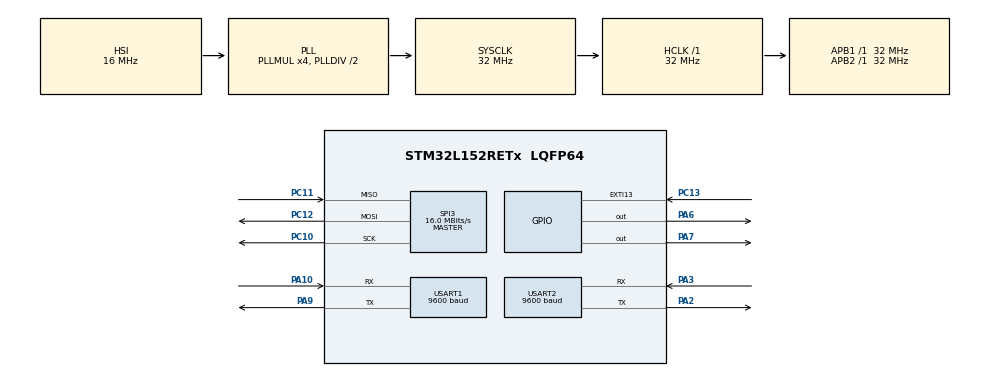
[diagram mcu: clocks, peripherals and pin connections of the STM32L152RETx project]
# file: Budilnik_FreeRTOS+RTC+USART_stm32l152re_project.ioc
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Mcu.Family=STM32L1
NVIC.TIM9_IRQn=true\:0\:0\:false\:false\:true\:false\:false\:true
RCC.MSI_VALUE=2097000
SPI3.Direction=SPI_DIRECTION_2LINES
FREERTOS.Tasks01=defaultTask,0,512,StartDefaultTask,Default,NULL,Dynamic,NULL,NULL
SPI3.VirtualType=VM_MASTER
FATFS._USE_LFN=0
PC13-WKUP2.GPIO_ModeDefaultEXTI=GPIO_MODE_IT_FALLING
PA10.Mode=Asynchronous
USART1.BaudRate=9600
FREERTOS.configLIBRARY_LOWEST_INTERRUPT_PRIORITY=15
PC12.Signal=SPI3_MOSI
PC11.Signal=SPI3_MISO
PC10.Signal=SPI3_SCK
RTC.AlarmDateWeekDay-Alarm\ A=1
PC10.Mode=Full_Duplex_Master
VP_RTC_VS_RTC_Activate.Mode=RTC_Enabled
USART2.BaudRate=9600
VP_RTC_VS_RTC_Alarm_A_Intern.Mode=Alarm A
RCC.SYSCLKSource=RCC_SYSCLKSOURCE_PLLCLK
ProjectManager.StackSize=0x400
VP_SYS_VS_tim9.Mode=TIM9
PA3.Mode=Asynchronous
PA9.Mode=Asynchronous
ProjectManager.TargetToolchain=STM32CubeIDE
RCC.HCLKFreq_Value=32000000
RCC.APB2TimFreq_Value=32000000
PA9.Signal=USART1_TX
FREERTOS.configMINIMAL_STACK_SIZE=512
RCC.LSE_VALUE=32768
RCC.AHBFreq_Value=32000000
VP_FATFS_VS_Generic.Mode=User_defined
NVIC.EXTI15_10_IRQn=true\:10\:0\:true\:false\:true\:false\:true\:true
RCC.HSE_VALUE=24000000
PC13-WKUP2.Signal=GPXTI13
PC12.Mode=Full_Duplex_Master
board=custom
RCC.VCOOutputFreq_Value=64000000
RCC.PLLMUL=RCC_PLL_MUL4
PA7.GPIO_Speed=GPIO_SPEED_FREQ_HIGH
RCC.APB2Freq_Value=32000000
SPI3.CalculateBaudRate=16.0 MBits/s
VP_TIM2_VS_ClockSourceINT.Mode=Internal
NVIC.TIM2_IRQn=true\:0\:0\:true\:false\:true\:true\:true\:true
SPI3.BaudRatePrescaler=SPI_BAUDRATEPRESCALER_2
TIM2.Period=10
VP_FREERTOS_VS_CMSIS_V1.Mode=CMSIS_V1
NVIC.RTC_Alarm_IRQn=true\:8\:0\:true\:false\:true\:true\:true\:true
Mcu.Name=STM32L152RETx
RTC.Alarm-Alarm\ A=RTC_ALARM_A
FREERTOS.configTOTAL_HEAP_SIZE=12288
RTC.Hours_A-Alarm\ A=0
PA2.Signal=USART2_TX
FATFS._MAX_SS=512
RTC.Minutes_A-Alarm\ A=0
RCC.48MHZClocksFreq_Value=32000000
RCC.SYSCLKFreq_VALUE=32000000
FREERTOS.configLIBRARY_MAX_SYSCALL_INTERRUPT_PRIORITY=5
Mcu.Package=LQFP64
TIM2.Prescaler=39999
PA6.Signal=GPIO_Output
NVIC.TimeBase=TIM9_IRQn
SPI3.Mode=SPI_MODE_MASTER
USART2.VirtualMode=VM_ASYNC
USART1.VirtualMode=VM_ASYNC
NVIC.TimeBaseIP=TIM9
PA10.Signal=USART1_RX
VP_RTC_VS_RTC_Calendar.Mode=RTC_Calendar
ProjectManager.HeapSize=0x200
PC11.Mode=Full_Duplex_Master
NVIC.SPI3_IRQn=true\:0\:0\:false\:false\:true\:true\:true\:true
RCC.HSI_VALUE=16000000
NVIC.PriorityGroup=NVIC_PRIORITYGROUP_4
RCC.APB1TimFreq_Value=32000000
PA2.Mode=Asynchronous
PA6.GPIO_Speed=GPIO_SPEED_FREQ_HIGH
RCC.APB1Freq_Value=32000000
PA3.Signal=USART2_RX
PA7.Signal=GPIO_Output

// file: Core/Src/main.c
/* USER CODE BEGIN Header */
/**
  ******************************************************************************
  * @file           : main.c
  * @brief          : Main program body
  ******************************************************************************
  * @attention
  *
  * <h2><center>&copy; Copyright (c) 2020 STMicroelectronics.
  * All rights reserved.</center></h2>
  *
  * This software component is licensed by ST under Ultimate Liberty license
  * SLA0044, the "License"; You may not use this file except in compliance with
  * the License. You may obtain a copy of the License at:
  *                             www.st.com/SLA0044
  *
  ******************************************************************************
  */
/* USER CODE END Header */
#include "main.h"
#include "cmsis_os.h"
#include "fatfs.h"

/* USER CODE BEGIN Includes */
/* ----------------- Coments ----------------------------------
 * В этом проекте используется SPI3, чтобы считать голосовые файлы с microSD
 * и озвучить их посредством DAC с использованием DMA во время пробуждения по будильнику.
 * Время для RTC задается сперва текущее в main() а затем, также в main() задается время пробуждения.
 * В момент пробуждения срабатывает прерывание RTC-Alarm'a, обработка которого происходит в файле
 * stm32lxx_it.c посредством функций FreeRTOS. До этого момента крутится таск FirstTask, выводящий
 * посекундно время на PuTTY с помощью USART,а в момент прерывания вызывается SoundTask, озвучивающий
 * время пробуждения и выводящий сообщение "ALARM !!! ALARM !!! ALARM !!!" также с помощью USART
 * на экран PuTTY. Прервать звонок будильника можно с помощью голубой кнопки User Button,
 * расположенной на плате Nucleo-L152RE. В этот момент срабатывает другое прерывание, повторно вызывающее
 * FirstTask, обработка которого происходит в stm32lxx_it.c с помощью функций FreeRTOS.
 *
 * Чтобы переназначить время, надо повторно скомпилировать проект. Подсоединение проводов между
 * платой Nucleo-L152RE, платой microSD и колонками смотри на приложенных в папке проекта фото.
 */

/* USER CODE END Includes */

/* USER CODE BEGIN PD */
#define SIZE_DAC_BUFF  512
/* USER CODE END PD */

RTC_HandleTypeDef hrtc;

SPI_HandleTypeDef hspi3;

TIM_HandleTypeDef htim2;

UART_HandleTypeDef huart1;
UART_HandleTypeDef huart2;

osThreadId defaultTaskHandle;
/* USER CODE BEGIN PV */
char Numbers[60][3]={"00", "01", "02", "03", "04", "05", "06", "07", "08", "09",
                   "10", "11", "12", "13", "14", "15", "16", "17", "18", "19",
                   "20", "21", "22", "23", "24", "25", "26", "27", "28", "29",
                   "30", "31", "32", "33", "34", "35", "36", "37", "38", "39",
                   "40", "41", "42", "43", "44", "45", "46", "47", "48", "49",
                   "50", "51", "52", "53", "54", "55", "56", "57", "58", "59"};
char TimeArray[7][3];
char Param[20];
extern volatile uint16_t Timer1=0;

TaskHandle_t xHandle_1, xHandle_2, xHandle_Sound;
RTC_TimeTypeDef sTime, sAlarmTime;
RTC_DateTypeDef sDate, sAlarmDate;
RTC_AlarmTypeDef sAlarm;

FATFS SDFatFs;
char USER_Path[4]={'0','0','0','0'}; // logical drive path
FIL MyFile;
unsigned char DAC_Buff[SIZE_DAC_BUFF];
UINT cnt;

WPRESULT wp_open( FIL *file, const char *FileName, wp_format *format );
void wp_init (wp_format *format);
char wave_playback(const char *FileName);

/* USER CODE END PV */

void SystemClock_Config(void);
static void MX_GPIO_Init(void);
static void MX_RTC_Init(void);
static void MX_USART1_UART_Init(void);
static void MX_USART2_UART_Init(void);
static void MX_SPI3_Init(void);
static void MX_TIM2_Init(void);
void StartDefaultTask(void const * argument);

int main(void)
{

  /* MCU Configuration--------------------------------------------------------*/

  /* Reset of all peripherals, Initializes the Flash interface and the Systick. */
  HAL_Init();

  /* Configure the system clock */
  SystemClock_Config();

  /* Initialize all configured peripherals */
  MX_GPIO_Init();
  MX_RTC_Init();
  MX_USART1_UART_Init();
  MX_USART2_UART_Init();
  MX_FATFS_Init();
  MX_SPI3_Init();
  MX_TIM2_Init();

  /* Create the thread(s) */
  /* definition and creation of defaultTask */
  //osThreadDef(defaultTask, StartDefaultTask, osPriorityNormal, 0, 512);
  //defaultTaskHandle = osThreadCreate(osThread(defaultTask), NULL);

  /* Start scheduler */
  //osKernelStart();

  /* We should never get here as control is now taken by the scheduler */
  /* Infinite loop */
  /* USER CODE BEGIN WHILE */
  HAL_UART_Transmit(&huart2, "Enter Start RTC Date & Time ", 29, 100);
  SetTime( &sDate, &sTime);
  HAL_UART_Transmit(&huart2, "Enter Alarm RTC Date & Time ", 29, 100);
  SetTime( &sAlarmDate, &sAlarmTime);

  sAlarm.AlarmTime=sAlarmTime;
  sAlarm.AlarmMask=RTC_ALARMMASK_NONE;
  sAlarm.AlarmSubSecondMask=RTC_ALARMSUBSECONDMASK_ALL;
  sAlarm.AlarmDateWeekDaySel=RTC_ALARMDATEWEEKDAYSEL_DATE;
  sAlarm.AlarmDateWeekDay=sAlarmDate.Date;
  sAlarm.Alarm=RTC_ALARM_A;

  HAL_RTC_SetDate(&hrtc, &sDate, RTC_FORMAT_BCD);
  HAL_RTC_SetTime(&hrtc, &sTime, RTC_FORMAT_BCD);

  HAL_RTC_SetAlarm_IT(&hrtc, &sAlarm, RTC_FORMAT_BCD);

  /* Чтобы таски создались, надо заблокировать строки кода, создающие defaultTask !!! Потому, что
   * defaultTask занимает слишком много памяти в куче ( 2160 Байт ) и для моих тасков не остается
   * места !!!
   */
	  if( xTaskCreate(prvFirstTask, "First", configMINIMAL_STACK_SIZE, NULL, tskIDLE_PRIORITY, &xHandle_1) != pdPASS){
		  HAL_UART_Transmit(&huart2, "FirstTask creating ERROR !!!\r\n", 30, 100 );
	  }

	  if( xTaskCreate(prvSoundTask, "Sound", configMINIMAL_STACK_SIZE, NULL, tskIDLE_PRIORITY, &xHandle_Sound) != pdPASS){
		  HAL_UART_Transmit(&huart2, "SoundTask creating ERROR !!!\r\n", 30, 100 );
	  }

	  vTaskStartScheduler();

  while (1)
  {
    /* USER CODE END WHILE */

  }
}

void SystemClock_Config(void)
{
  RCC_OscInitTypeDef RCC_OscInitStruct = {0};
  RCC_ClkInitTypeDef RCC_ClkInitStruct = {0};
  RCC_PeriphCLKInitTypeDef PeriphClkInit = {0};

  /** Configure the main internal regulator output voltage
  */
  __HAL_PWR_VOLTAGESCALING_CONFIG(PWR_REGULATOR_VOLTAGE_SCALE1);
  /** Initializes the RCC Oscillators according to the specified parameters
  * in the RCC_OscInitTypeDef structure.
  */
  RCC_OscInitStruct.OscillatorType = RCC_OSCILLATORTYPE_HSI|RCC_OSCILLATORTYPE_LSI;
  RCC_OscInitStruct.HSIState = RCC_HSI_ON;
  RCC_OscInitStruct.HSICalibrationValue = RCC_HSICALIBRATION_DEFAULT;
  RCC_OscInitStruct.LSIState = RCC_LSI_ON;
  RCC_OscInitStruct.PLL.PLLState = RCC_PLL_ON;
  RCC_OscInitStruct.PLL.PLLSource = RCC_PLLSOURCE_HSI;
  RCC_OscInitStruct.PLL.PLLMUL = RCC_PLL_MUL4;
  RCC_OscInitStruct.PLL.PLLDIV = RCC_PLL_DIV2;
  if (HAL_RCC_OscConfig(&RCC_OscInitStruct) != HAL_OK)
  {
    Error_Handler();
  }
  /** Initializes the CPU, AHB and APB buses clocks
  */
  RCC_ClkInitStruct.ClockType = RCC_CLOCKTYPE_HCLK|RCC_CLOCKTYPE_SYSCLK
                              |RCC_CLOCKTYPE_PCLK1|RCC_CLOCKTYPE_PCLK2;
  RCC_ClkInitStruct.SYSCLKSource = RCC_SYSCLKSOURCE_PLLCLK;
  RCC_ClkInitStruct.AHBCLKDivider = RCC_SYSCLK_DIV1;
  RCC_ClkInitStruct.APB1CLKDivider = RCC_HCLK_DIV1;
  RCC_ClkInitStruct.APB2CLKDivider = RCC_HCLK_DIV1;

  if (HAL_RCC_ClockConfig(&RCC_ClkInitStruct, FLASH_LATENCY_1) != HAL_OK)
  {
    Error_Handler();
  }
  PeriphClkInit.PeriphClockSelection = RCC_PERIPHCLK_RTC;
  PeriphClkInit.RTCClockSelection = RCC_RTCCLKSOURCE_LSI;
  if (HAL_RCCEx_PeriphCLKConfig(&PeriphClkInit) != HAL_OK)
  {
    Error_Handler();
  }
}

static void MX_RTC_Init(void)
{

  RTC_TimeTypeDef sTime = {0};
  RTC_DateTypeDef sDate = {0};
  RTC_AlarmTypeDef sAlarm = {0};

  /** Initialize RTC Only
  */
  hrtc.Instance = RTC;
  hrtc.Init.HourFormat = RTC_HOURFORMAT_24;
  hrtc.Init.AsynchPrediv = 127;
  hrtc.Init.SynchPrediv = 255;
  hrtc.Init.OutPut = RTC_OUTPUT_DISABLE;
  hrtc.Init.OutPutPolarity = RTC_OUTPUT_POLARITY_HIGH;
  hrtc.Init.OutPutType = RTC_OUTPUT_TYPE_OPENDRAIN;
  if (HAL_RTC_Init(&hrtc) != HAL_OK)
  {
    Error_Handler();
  }

  /** Initialize RTC and set the Time and Date
  */
  sTime.Hours = 0x0;
  sTime.Minutes = 0x0;
  sTime.Seconds = 0x0;
  sTime.DayLightSaving = RTC_DAYLIGHTSAVING_NONE;
  sTime.StoreOperation = RTC_STOREOPERATION_RESET;
  if (HAL_RTC_SetTime(&hrtc, &sTime, RTC_FORMAT_BCD) != HAL_OK)
  {
    Error_Handler();
  }
  sDate.WeekDay = RTC_WEEKDAY_MONDAY;
  sDate.Month = RTC_MONTH_JANUARY;
  sDate.Date = 0x1;
  sDate.Year = 0x0;

  if (HAL_RTC_SetDate(&hrtc, &sDate, RTC_FORMAT_BCD) != HAL_OK)
  {
    Error_Handler();
  }
  /** Enable the Alarm A
  */
  sAlarm.AlarmTime.Hours = 0x0;
  sAlarm.AlarmTime.Minutes = 0x0;
  sAlarm.AlarmTime.Seconds = 0x0;
  sAlarm.AlarmTime.SubSeconds = 0x0;
  sAlarm.AlarmTime.DayLightSaving = RTC_DAYLIGHTSAVING_NONE;
  sAlarm.AlarmTime.StoreOperation = RTC_STOREOPERATION_RESET;
  sAlarm.AlarmMask = RTC_ALARMMASK_NONE;
  sAlarm.AlarmSubSecondMask = RTC_ALARMSUBSECONDMASK_ALL;
  sAlarm.AlarmDateWeekDaySel = RTC_ALARMDATEWEEKDAYSEL_DATE;
  sAlarm.AlarmDateWeekDay = 0x1;
  sAlarm.Alarm = RTC_ALARM_A;
  if (HAL_RTC_SetAlarm_IT(&hrtc, &sAlarm, RTC_FORMAT_BCD) != HAL_OK)
  {
    Error_Handler();
  }

}

static void MX_SPI3_Init(void)
{

  /* SPI3 parameter configuration*/
  hspi3.Instance = SPI3;
  hspi3.Init.Mode = SPI_MODE_MASTER;
  hspi3.Init.Direction = SPI_DIRECTION_2LINES;
  hspi3.Init.DataSize = SPI_DATASIZE_8BIT;
  hspi3.Init.CLKPolarity = SPI_POLARITY_LOW;
  hspi3.Init.CLKPhase = SPI_PHASE_1EDGE;
  hspi3.Init.NSS = SPI_NSS_SOFT;
  hspi3.Init.BaudRatePrescaler = SPI_BAUDRATEPRESCALER_2;
  hspi3.Init.FirstBit = SPI_FIRSTBIT_MSB;
  hspi3.Init.TIMode = SPI_TIMODE_DISABLE;
  hspi3.Init.CRCCalculation = SPI_CRCCALCULATION_DISABLE;
  hspi3.Init.CRCPolynomial = 10;
  if (HAL_SPI_Init(&hspi3) != HAL_OK)
  {
    Error_Handler();
  }

}

static void MX_TIM2_Init(void)
{

  TIM_ClockConfigTypeDef sClockSourceConfig = {0};
  TIM_MasterConfigTypeDef sMasterConfig = {0};

  htim2.Instance = TIM2;
  htim2.Init.Prescaler = 39999;
  htim2.Init.CounterMode = TIM_COUNTERMODE_UP;
  htim2.Init.Period = 10;
  htim2.Init.ClockDivision = TIM_CLOCKDIVISION_DIV1;
  htim2.Init.AutoReloadPreload = TIM_AUTORELOAD_PRELOAD_DISABLE;
  if (HAL_TIM_Base_Init(&htim2) != HAL_OK)
  {
    Error_Handler();
  }
  sClockSourceConfig.ClockSource = TIM_CLOCKSOURCE_INTERNAL;
  if (HAL_TIM_ConfigClockSource(&htim2, &sClockSourceConfig) != HAL_OK)
  {
    Error_Handler();
  }
  sMasterConfig.MasterOutputTrigger = TIM_TRGO_RESET;
  sMasterConfig.MasterSlaveMode = TIM_MASTERSLAVEMODE_DISABLE;
  if (HAL_TIMEx_MasterConfigSynchronization(&htim2, &sMasterConfig) != HAL_OK)
  {
    Error_Handler();
  }

}

static void MX_USART1_UART_Init(void)
{

  huart1.Instance = USART1;
  huart1.Init.BaudRate = 9600;
  huart1.Init.WordLength = UART_WORDLENGTH_8B;
  huart1.Init.StopBits = UART_STOPBITS_1;
  huart1.Init.Parity = UART_PARITY_NONE;
  huart1.Init.Mode = UART_MODE_TX_RX;
  huart1.Init.HwFlowCtl = UART_HWCONTROL_NONE;
  huart1.Init.OverSampling = UART_OVERSAMPLING_16;
  if (HAL_UART_Init(&huart1) != HAL_OK)
  {
    Error_Handler();
  }

}

static void MX_USART2_UART_Init(void)
{

  huart2.Instance = USART2;
  huart2.Init.BaudRate = 9600;
  huart2.Init.WordLength = UART_WORDLENGTH_8B;
  huart2.Init.StopBits = UART_STOPBITS_1;
  huart2.Init.Parity = UART_PARITY_NONE;
  huart2.Init.Mode = UART_MODE_TX_RX;
  huart2.Init.HwFlowCtl = UART_HWCONTROL_NONE;
  huart2.Init.OverSampling = UART_OVERSAMPLING_16;
  if (HAL_UART_Init(&huart2) != HAL_OK)
  {
    Error_Handler();
  }

}

static void MX_GPIO_Init(void)
{
  GPIO_InitTypeDef GPIO_InitStruct = {0};

  /* GPIO Ports Clock Enable */
  __HAL_RCC_GPIOC_CLK_ENABLE();
  __HAL_RCC_GPIOA_CLK_ENABLE();

  /*Configure GPIO pin Output Level */
  HAL_GPIO_WritePin(GPIOA, GPIO_PIN_6|GPIO_PIN_7, GPIO_PIN_RESET);

  /*Configure GPIO pin : PC13 */
  GPIO_InitStruct.Pin = GPIO_PIN_13;
  GPIO_InitStruct.Mode = GPIO_MODE_IT_FALLING;
  GPIO_InitStruct.Pull = GPIO_NOPULL;
  HAL_GPIO_Init(GPIOC, &GPIO_InitStruct);

  /*Configure GPIO pins : PA6 PA7 */
  GPIO_InitStruct.Pin = GPIO_PIN_6|GPIO_PIN_7;
  GPIO_InitStruct.Mode = GPIO_MODE_OUTPUT_PP;
  GPIO_InitStruct.Pull = GPIO_NOPULL;
  GPIO_InitStruct.Speed = GPIO_SPEED_FREQ_HIGH;
  HAL_GPIO_Init(GPIOA, &GPIO_InitStruct);

  /* EXTI interrupt init*/
  HAL_NVIC_SetPriority(EXTI15_10_IRQn, 10, 0);
  HAL_NVIC_EnableIRQ(EXTI15_10_IRQn);

}

/* USER CODE BEGIN 4 */

WPRESULT wp_open( FIL *file, const char *FileName, wp_format *format )
{
  unsigned char res;                          //dlya chraneniya resultata
  unsigned char buff[64];                     //bufer dlya zagolovka faila
  unsigned char cnt;                          //kolichestvo prochitannych bait
  unsigned long i;                            //wspom. peremennaya

  res = f_open ( file,FileName, FA_OPEN_EXISTING|FA_READ );
  if(res) return WP_ERROR_FILE;
  res = f_read ( file, &buff[0], 64, (UINT *)&cnt );
  if(res || cnt!=64) return WP_ERROR_FILE;

  if(buff[0]!='R' || buff[1]!='I' || buff[2]!='F' || buff[3]!='F')     res = 2;

  if(buff[8]!='W' || buff[9]!='A' || buff[10]!='V' || buff[11]!='E')   res = 2;

  if(buff[12]!='f' || buff[13]!='m' || buff[14]!='t' || buff[15]!=' ') res = 2;

  //bayty 20,21  - 1 i 0
  if(buff[20]!=1 || buff[21]!=0) res = 2;

  //wychislit razmer chanka "fmt "
  i = buff[16] | (buff[17]<<8) | (buff[18]<<16) | (buff[19]<<24);

  //posle chanka "fmt " dolgen sledovat chank "data"
  if(buff[20+i]!='d' || buff[21+i]!='a' || buff[22+i]!='t' || buff[23+i]!='a') res = 2;

  if(res==2)
  {
    f_close(file);
    return WP_ERROR_FILE;
  }

  //                    zagruzit format dannych
  format->Channels       = buff[22];
  format->SamplesPerSec  = buff[24] | (buff[25]<<8) | (buff[26]<<16) | (buff[27]<<24);
  format->AvgBytesPerSec = buff[28] | (buff[29]<<8) | (buff[30]<<16) | (buff[31]<<24);
  format->BitsPerSample  = buff[34] | (buff[35]<<8);
  format->Size           = buff[24+i]|(buff[25+i]<<8)|(buff[26+i]<<16)|(buff[27+i]<<24);

  //failovyi ukazatel na nachalo dannych
  //f_lseek(file,i+28);
  f_close(&MyFile);
  return WP_OK;
}

void wp_init (wp_format *format)
{
//??????????? ?????? ????? ???? ??? ?????? ?????? ?? ???
//RCC->APB2ENR |= RCC_APB2ENR_IOPAEN;            //???????????? ????? GPIOA
RCC->AHBENR |= RCC_AHBENR_GPIOAEN;             // IO port A clock enabled
RCC->APB1ENR |= RCC_APB1ENR_DACEN;             //DAC interface clock enabled
DAC->CR      |= DAC_CR_DMAEN1;                 //DAC channel1 DMA mode enabled
DAC->CR      |= DAC_CR_BOFF1;                  //DAC channel1 output buffer disabled
//DAC->CR      &=~DAC_CR_BOFF1;
DAC->CR      |= DAC_CR_EN1;                    //DAC channel1 enabled
//????????? ?????? ????? ??? ??? ??????????? ?????? ?? ??????
//? ????????????? ??????? ?????? ??????? ?????? ????:
RCC->AHBENR         |= RCC_AHBENR_DMA1EN;      //DMA1 clock enabled
DMA1_Channel2->CPAR  = (uint32_t)&DAC->DHR8R1; //Base address of the peripheral data register from which the data will be read
												// Address of DAC channel1 8-bit right aligned data holding register
DMA1_Channel2->CMAR  = (uint32_t)&DAC_Buff[0]; //Base address of the memory area from which the data will be read.
DMA1_Channel2->CCR  |=  DMA_CCR_DIR;          //Data transfer direction - read from memory
DMA1_Channel2->CNDTR =  512;                   //Number of data to transfer
DMA1_Channel2->CCR  &= ~DMA_CCR_PINC;         //Peripheral increment mode disabled
DMA1_Channel2->CCR  |=  DMA_CCR_MINC;         //Memory increment mode enabled
DMA1_Channel2->CCR  &= ~DMA_CCR_PSIZE;        //Peripheral size - 8 bit
DMA1_Channel2->CCR  &= ~DMA_CCR_MSIZE;        //Memory size - 8 bit
DMA1_Channel2->CCR  |=  DMA_CCR_CIRC;         //Circular mode enabled
DMA1_Channel2->CCR  |=  DMA_CCR_PL;           //Channel priority level - very high
DMA1_Channel2->CCR  |=  DMA_CCR_EN;           //Channel enabled
//?????? ???????? ?????????? ???????? ????? ??? ????? ??????????? ?? TIM6
RCC->APB1ENR        |=  RCC_APB1ENR_TIM6EN;    //Timer 6 clock enabled
TIM6->PSC            =  0;                     //Prescaler value - 8000 ???
TIM6->ARR            =  (uint32_t)32000000/ format->SamplesPerSec; // Auto-reload value
//TIM6->ARR            = (uint32_t)459; // before 32000000/44100
TIM6->DIER          |=  TIM_DIER_UDE; // Update DMA request enabled.
}

char wave_playback(const char *FileName)
{
  FRESULT res;                                //??? ????????????? ????????? ??????????
  //FIL file;                                   //???????? ??????
  UINT cnt;                                   //?????????? ??????? ??????????? ????

  memset(DAC_Buff,'\0',sizeof(DAC_Buff));

  res = f_open( &MyFile, FileName, FA_OPEN_EXISTING|FA_READ );   //??????? ???? FileName ??? ??????
  if(res) return 1;
  res = f_lseek(&MyFile,0x2c);                  //??????????? ????????? ?? ?????? ???????? ??????
  if(res) return 2;
  f_read (&MyFile,&DAC_Buff[0],512,&cnt);       //????????? ????? ???? ???????
  if(res) return 3;
  TIM6->CR1 |= TIM_CR1_CEN;                   //Counter enable

  //                        ???????????????
  while(1)
  {
     while(!(DMA1->ISR & DMA_ISR_HTIF2)) {}   //Channel 2 Half Transfer flag
     f_read (&MyFile,&DAC_Buff[0],256,&cnt);    //????????? ?? ???????
     DMA1->IFCR |= DMA_ISR_HTIF2;             //???????? ????
     if(cnt<256)break;                        //???? ????? ?????

     while(!(DMA1->ISR & DMA_ISR_TCIF2)) {}   //Channel 2 Transfer Complete flag
     f_read (&MyFile,&DAC_Buff[256],256,&cnt);  //????????? ?? ???????
     DMA1->IFCR |= DMA_ISR_TCIF2;             //???????? ????
     if(cnt<256)break;                        //???? ????? ?????
  }

  TIM6->CR1 &= ~TIM_CR1_CEN;                  //Counter disable
  f_close(&MyFile);                             //??????? ????
  return 0;                                   //???????? ?????????? ?-??
}

void ParamToArray( char *pParam )
{
int count,num=0,ParamLength;
char *pStr=NULL, *pPrev=NULL;

    pStr=pPrev=pParam;
    ParamLength=strlen(pParam);
    for(count=0; count<ParamLength; count++){
      if(*pStr!=' ' && *pStr!='/' && *pStr!=':'){
          pStr++;
      }else{
          *pStr='\0';
          strcpy(TimeArray[num],pPrev);
          pStr++;
          pPrev=pStr;
          num++;
      }
    }
}
uint8_t DecToBCD( int num){
	return (uint8_t)((num%10)+(num-(num%10))/10*16);
}

int BCDToDec( uint8_t num){
	return (int)((num%16)+(num-(num%16))/16*10);
}

void SetTime( RTC_DateTypeDef *pDate, RTC_TimeTypeDef *pTime ){
char ch;
HAL_StatusTypeDef status;
int count=0, num=0, flag;

	do{
		memset( Param, '\0', sizeof(Param));
		ch='\0';
		flag=0;
		count=0;

  		HAL_UART_Transmit(&huart2, "in form <dd/mm/yy hh:mm:ss> : ", 29, 100);

		while(ch!='\r'){
			status=HAL_UART_Receive( &huart2, (uint8_t *)&ch, 1, 100);
			if(status==HAL_OK){
				HAL_UART_Transmit( &huart2, (uint8_t *)&ch, 1, 100);
				if( ch==127 && count>0) {
					count--;
				}else{
					if( count>=0 && ch!='\r'){
						Param[count]=ch;
						count++;
					}
				}
			}
		}

		Param[count]=' ';
		HAL_UART_Transmit(&huart2, "\n", 1, 100);

		ParamToArray(Param);

		for( count=0; count<6; count++){
	  		for( num=0; num<61; num++){
		  		if( (strcmp(TimeArray[count],Numbers[num]))==0 ){
					switch(count){
						case 0:  pDate->Date=DecToBCD(num);
								 if(num>=1 && num<=31 ){
									 flag=1;
								 }else{
									 flag=0;
									 count=6;
								 }
								 num=61;
						break;
						case 1:  pDate->Month=DecToBCD(num);
								 if(num>=1 && num<=12 ){
									 flag=1;
								 }else{
									 flag=0;
									 count=6;
								 }
								 num=61;
						break;
						case 2:  pDate->Year=DecToBCD(num);
								 if(num>=0 && num<=59 ){
									 flag=1;
								 }else{
									 flag=0;
									 count=6;
								 }
								 num=61;
						break;
						case 3:  pTime->Hours=DecToBCD(num);
								 if(num>=0 && num<=23 ){
									 flag=1;
								 }else{
									 flag=0;
									 count=6;
								 }
								 num=61;
						break;
						case 4:  pTime->Minutes=DecToBCD(num);
								 if(num>=0 && num<=59 ){
									 flag=1;
								 }else{
									 flag=0;
									 count=6;
								 }
								 num=61;
						break;
						case 5:  pTime->Seconds=DecToBCD(num);
								 if(num>=0 && num<=59 ){
									 flag=1;
								 }else{
									 flag=0;
									 count=6;
								 }
								 num=61;
						break;
					}
				}else if( num==60 ){ flag=0; num=61; count=6; }
			}
		}
		if( !flag ) HAL_UART_Transmit( &huart2, "\r\n WRONG TIME OR DATE !!!\r\n", 28, 40);
	}while( !flag );

	pDate->WeekDay = RTC_WEEKDAY_MONDAY;
	pTime->TimeFormat = 0x0;
	pTime->SubSeconds = 0x0;
	pTime->SecondFraction = 0x0;
	pTime->DayLightSaving = 0x0;
	pTime->StoreOperation = 0x0;
}

/* USER CODE END 4 */

void StartDefaultTask(void const * argument)
{
  for(;;)
  {
    osDelay(1);
  }
}

void HAL_TIM_PeriodElapsedCallback(TIM_HandleTypeDef *htim)
{
  if (htim->Instance == TIM9) {
    HAL_IncTick();
  }
}

void Error_Handler(void)
{
}

/************************ (C) COPYRIGHT STMicroelectronics *****END OF FILE****/
